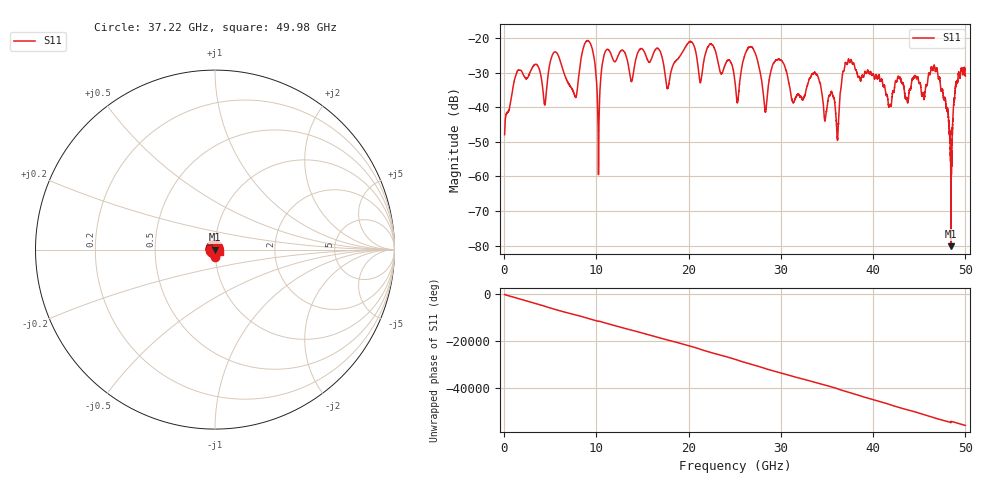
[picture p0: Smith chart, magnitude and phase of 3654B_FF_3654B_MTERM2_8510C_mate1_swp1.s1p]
!Created with skrf (http://scikit-rf.org).
# Hz S RI R 50.0
!freq ReS11 ImS11
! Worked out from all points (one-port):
!   10001 points, 45 MHz to 50 GHz, reference 50 ohm
!   lowest |S11| = -80.1 dB at 48.42 GHz (marker M1), VSWR 1.00, Z = 50 + j0.00965 ohm
!   |S11| at or under -10 dB: start of sweep to end of sweep
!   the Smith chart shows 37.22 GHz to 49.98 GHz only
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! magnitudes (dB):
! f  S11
! 45 MHz  -47.9
! 1.524 GHz  -29.2
! 4.386 GHz  -39.3
! 5.305 GHz  -24.5
! 6.289 GHz  -28.6
! 7.708 GHz  -37.1
! 9.192 GHz  -20.9
! 10.24 GHz  -55.0
! 10.95 GHz  -24.0
! 12.53 GHz  -24.1
! 17.72 GHz  -34.5
! 18.78 GHz  -26.1
! 20.31 GHz  -21.1
! 21.3 GHz  -32.8
! 22.47 GHz  -21.8
! 25.02 GHz  -32.7
! 26.75 GHz  -22.5
! 28.28 GHz  -41.0
! 29.64 GHz  -26.2
! 31.27 GHz  -38.4
! 33.73 GHz  -30.1
! 36.11 GHz  -49.1
! 37.51 GHz  -26.9
! 43.76 GHz  -38.7
! 46.75 GHz  -29.7
! 48.42 GHz  -80.1
! 49.1 GHz  -32.9
! 50 GHz  -31.0
